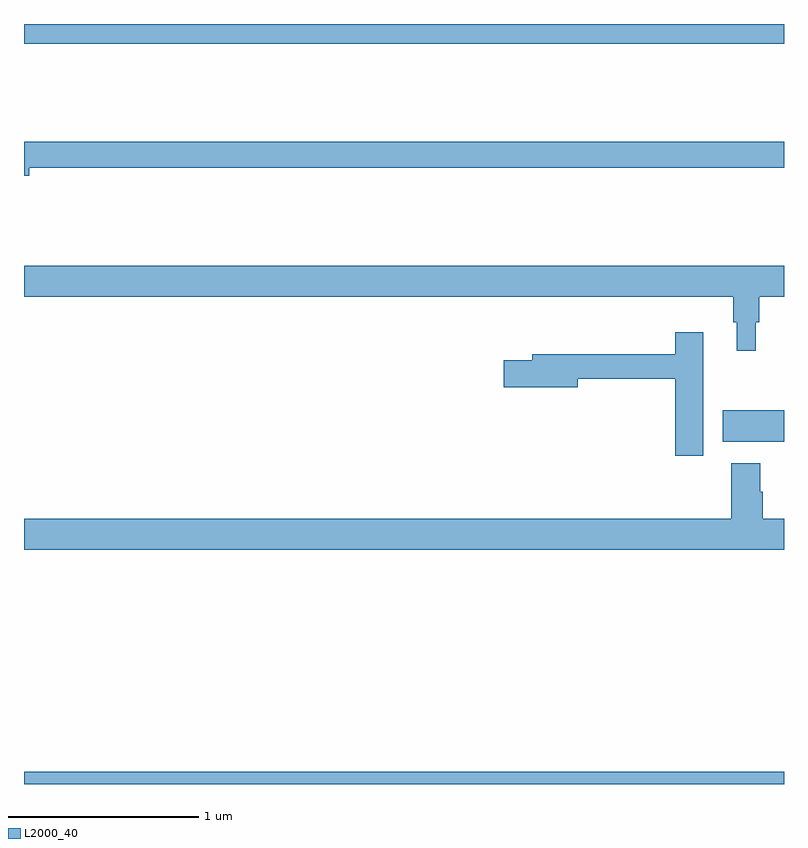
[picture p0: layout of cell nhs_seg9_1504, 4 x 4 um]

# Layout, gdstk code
import gdstk
lib = gdstk.Library(unit=1e-6, precision=1e-09)
def R(c, l, rs):  # rectangles x0, y0, x1, y1
    for r in rs: c.add(gdstk.rectangle(r[:2], r[2:], *l))
def P(c, l, *ps):  # polygons
    for p in ps: c.add(gdstk.Polygon(p, *l))
L2000_40 = (2000, 40)

nhs_seg9_1504 = lib.new_cell('nhs_seg9_1504')
R(nhs_seg9_1504, L2000_40, [(195,1216.5,199,1216.564), (198.678,1218.302,199,1218.468), (195,1220.396,199,1220.5)])
P(nhs_seg9_1504, L2000_40, [(195.028,1219.744),(199,1219.744),(199,1219.88),(195,1219.88),(195,1219.702),(195.028,1219.702)],
  [(195,1219.064),(198.733,1219.064),(198.733,1218.93),(198.752,1218.93),(198.752,1218.78),(198.85,1218.78),(198.85,1218.93),(198.869,1218.93),(198.869,1219.064),(199,1219.064),(199,1219.228),(195,1219.228)],
  [(198.574,1218.877),(198.428,1218.877),(198.428,1218.763),(197.675,1218.763),(197.675,1218.729),(197.526,1218.729),(197.526,1218.587),(197.914,1218.587),(197.914,1218.634),(198.428,1218.634),(198.428,1218.228),(198.574,1218.228)],
  [(199,1217.896),(198.887,1217.896),(198.887,1218.038),(198.874,1218.038),(198.874,1218.187),(198.722,1218.187),(198.722,1217.896),(195,1217.896),(195,1217.732),(199,1217.732)])

lib.write_gds('nhs_seg9_1504.gds')
